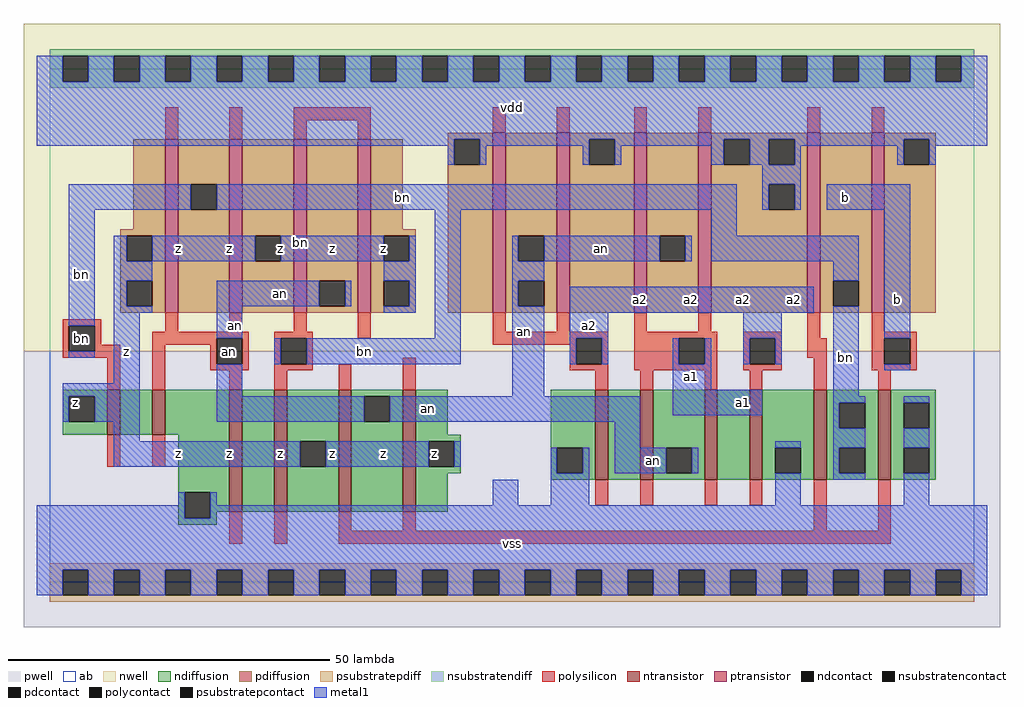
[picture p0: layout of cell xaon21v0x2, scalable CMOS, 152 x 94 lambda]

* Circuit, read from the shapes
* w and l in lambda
.subckt xaon21v0x2 a1 a2 an b bn vdd vss z
M1 n1 bn z vss nfet w=7 l=2
M2 vss an n1 vss nfet w=7 l=2
M3 n2 an vss vss nfet w=19 l=2
M4 z bn n2 vss nfet w=19 l=2
M5 an b z vss nfet w=19 l=2 m=2
M6 n3 a2 vss vss nfet w=14 l=2
M7 an a1 n3 vss nfet w=14 l=2
M8 n4 a1 an vss nfet w=14 l=2
M9 vss a2 n4 vss nfet w=14 l=2
M10 bn b vss vss nfet w=14 l=2 m=2
M11 bn an z vdd pfet w=27 l=2 m=2
M12 an bn z vdd pfet w=27 l=2 m=2
M13 an a2 vdd vdd pfet w=28 l=2 m=2
M14 an a1 vdd vdd pfet w=28 l=2 m=2
M15 bn b vdd vdd pfet w=28 l=2 m=2
.ends

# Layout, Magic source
magic
tech scmos
<< ab >>
rect 0 0 144 80
<< pwell >>
rect -4 -7 148 36
<< nwell >>
rect -4 36 148 87
<< polysilicon >>
rect 18 69 20 74
rect 28 69 30 74
rect 38 72 50 74
rect 38 69 40 72
rect 48 69 50 72
rect 69 70 71 74
rect 79 70 81 74
rect 91 70 93 74
rect 101 70 103 74
rect 118 70 120 74
rect 128 70 130 74
rect 2 40 8 41
rect 2 36 3 40
rect 7 37 8 40
rect 18 39 20 42
rect 28 39 30 42
rect 38 39 40 42
rect 16 38 31 39
rect 16 37 26 38
rect 7 36 11 37
rect 2 35 11 36
rect 9 30 11 35
rect 16 30 18 37
rect 25 34 26 37
rect 30 34 31 38
rect 25 33 31 34
rect 35 38 41 39
rect 48 38 50 42
rect 69 39 71 42
rect 79 39 81 42
rect 91 39 93 42
rect 101 39 103 42
rect 69 38 87 39
rect 35 34 36 38
rect 40 34 41 38
rect 69 37 82 38
rect 35 33 41 34
rect 28 30 30 33
rect 35 30 37 33
rect 45 30 47 34
rect 55 30 57 35
rect 81 34 82 37
rect 86 34 87 38
rect 81 33 87 34
rect 91 38 104 39
rect 91 34 98 38
rect 102 34 104 38
rect 91 33 104 34
rect 108 38 114 39
rect 108 34 109 38
rect 113 34 114 38
rect 118 38 120 42
rect 128 39 130 42
rect 128 38 135 39
rect 118 35 121 38
rect 108 33 114 34
rect 85 30 87 33
rect 92 30 94 33
rect 102 30 104 33
rect 109 30 111 33
rect 119 30 121 35
rect 128 34 130 38
rect 134 34 135 38
rect 128 33 135 34
rect 129 30 131 33
rect 9 18 11 23
rect 16 18 18 23
rect 85 12 87 16
rect 92 12 94 16
rect 102 12 104 16
rect 109 12 111 16
rect 28 6 30 11
rect 35 6 37 11
rect 45 8 47 11
rect 55 8 57 11
rect 119 8 121 16
rect 129 8 131 16
rect 45 6 131 8
<< ndiffusion >>
rect 2 29 9 30
rect 2 25 3 29
rect 7 25 9 29
rect 2 23 9 25
rect 11 23 16 30
rect 18 23 28 30
rect 20 14 28 23
rect 20 10 21 14
rect 25 11 28 14
rect 30 11 35 30
rect 37 22 45 30
rect 37 18 39 22
rect 43 18 45 22
rect 37 11 45 18
rect 47 29 55 30
rect 47 25 49 29
rect 53 25 55 29
rect 47 11 55 25
rect 57 23 62 30
rect 57 22 64 23
rect 57 18 59 22
rect 63 18 64 22
rect 57 17 64 18
rect 78 21 85 30
rect 78 17 79 21
rect 83 17 85 21
rect 57 11 62 17
rect 78 16 85 17
rect 87 16 92 30
rect 94 21 102 30
rect 94 17 96 21
rect 100 17 102 21
rect 94 16 102 17
rect 104 16 109 30
rect 111 21 119 30
rect 111 17 113 21
rect 117 17 119 21
rect 111 16 119 17
rect 121 28 129 30
rect 121 24 123 28
rect 127 24 129 28
rect 121 21 129 24
rect 121 17 123 21
rect 127 17 129 21
rect 121 16 129 17
rect 131 28 138 30
rect 131 24 133 28
rect 137 24 138 28
rect 131 21 138 24
rect 131 17 133 21
rect 137 17 138 21
rect 131 16 138 17
rect 25 10 26 11
rect 20 9 26 10
<< pdiffusion >>
rect 62 69 69 70
rect 13 55 18 69
rect 11 54 18 55
rect 11 50 12 54
rect 16 50 18 54
rect 11 47 18 50
rect 11 43 12 47
rect 16 43 18 47
rect 11 42 18 43
rect 20 62 28 69
rect 20 58 22 62
rect 26 58 28 62
rect 20 42 28 58
rect 30 54 38 69
rect 30 50 32 54
rect 36 50 38 54
rect 30 42 38 50
rect 40 47 48 69
rect 40 43 42 47
rect 46 43 48 47
rect 40 42 48 43
rect 50 55 55 69
rect 62 65 63 69
rect 67 65 69 69
rect 50 54 57 55
rect 50 50 52 54
rect 56 50 57 54
rect 50 47 57 50
rect 50 43 52 47
rect 56 43 57 47
rect 50 42 57 43
rect 62 42 69 65
rect 71 54 79 70
rect 71 50 73 54
rect 77 50 79 54
rect 71 47 79 50
rect 71 43 73 47
rect 77 43 79 47
rect 71 42 79 43
rect 81 69 91 70
rect 81 65 84 69
rect 88 65 91 69
rect 81 42 91 65
rect 93 54 101 70
rect 93 50 95 54
rect 99 50 101 54
rect 93 42 101 50
rect 103 69 118 70
rect 103 65 105 69
rect 109 65 112 69
rect 116 65 118 69
rect 103 62 118 65
rect 103 58 112 62
rect 116 58 118 62
rect 103 42 118 58
rect 120 47 128 70
rect 120 43 122 47
rect 126 43 128 47
rect 120 42 128 43
rect 130 69 138 70
rect 130 65 133 69
rect 137 65 138 69
rect 130 42 138 65
<< metal1 >>
rect -2 78 2 82
rect 6 78 10 82
rect 14 78 18 82
rect 22 78 26 82
rect 30 78 34 82
rect 38 78 42 82
rect 46 78 50 82
rect 54 78 58 82
rect 62 78 66 82
rect 70 78 74 82
rect 78 78 82 82
rect 86 78 90 82
rect 94 78 98 82
rect 102 78 106 82
rect 110 78 114 82
rect 118 78 122 82
rect 126 78 130 82
rect 134 78 138 82
rect 142 78 146 82
rect -2 69 146 78
rect -2 68 63 69
rect 62 65 63 68
rect 67 68 84 69
rect 67 65 68 68
rect 83 65 84 68
rect 88 68 105 69
rect 88 65 89 68
rect 103 65 105 68
rect 109 65 112 69
rect 116 68 133 69
rect 116 65 117 68
rect 132 65 133 68
rect 137 68 146 69
rect 137 65 138 68
rect 111 62 117 65
rect 3 58 22 62
rect 26 58 107 62
rect 111 58 112 62
rect 116 58 117 62
rect 121 58 134 62
rect 3 40 7 58
rect 3 35 7 36
rect 10 50 12 54
rect 16 50 32 54
rect 36 50 52 54
rect 56 50 57 54
rect 10 47 16 50
rect 52 47 57 50
rect 10 43 12 47
rect 10 42 16 43
rect 26 43 42 47
rect 46 43 47 47
rect 56 43 57 47
rect 10 31 14 42
rect 2 29 14 31
rect 2 25 3 29
rect 7 25 14 29
rect 26 38 30 43
rect 52 42 57 43
rect 60 38 64 58
rect 103 54 107 58
rect 35 34 36 38
rect 40 34 64 38
rect 72 50 73 54
rect 77 50 95 54
rect 99 50 100 54
rect 103 50 126 54
rect 72 47 77 50
rect 72 43 73 47
rect 122 47 126 50
rect 26 29 30 34
rect 72 29 77 43
rect 81 42 119 46
rect 81 38 87 42
rect 108 38 114 42
rect 81 34 82 38
rect 86 34 87 38
rect 97 34 98 38
rect 102 34 103 38
rect 108 34 109 38
rect 113 34 114 38
rect 97 30 103 34
rect 26 25 49 29
rect 53 25 92 29
rect 97 26 111 30
rect 122 29 126 43
rect 130 38 134 58
rect 130 33 134 34
rect 122 28 127 29
rect 10 22 14 25
rect 10 18 39 22
rect 43 18 59 22
rect 63 18 64 22
rect 88 21 92 25
rect 122 24 123 28
rect 113 21 117 22
rect 78 17 79 21
rect 83 17 84 21
rect 88 17 96 21
rect 100 17 101 21
rect 20 12 21 14
rect -2 10 21 12
rect 25 12 26 14
rect 69 12 73 16
rect 78 12 84 17
rect 113 12 117 17
rect 122 21 127 24
rect 122 17 123 21
rect 122 16 127 17
rect 133 28 137 29
rect 133 21 137 24
rect 133 12 137 17
rect 25 10 146 12
rect -2 2 146 10
rect -2 -2 2 2
rect 6 -2 10 2
rect 14 -2 18 2
rect 22 -2 26 2
rect 30 -2 34 2
rect 38 -2 42 2
rect 46 -2 50 2
rect 54 -2 58 2
rect 62 -2 66 2
rect 70 -2 74 2
rect 78 -2 82 2
rect 86 -2 90 2
rect 94 -2 98 2
rect 102 -2 106 2
rect 110 -2 114 2
rect 118 -2 122 2
rect 126 -2 130 2
rect 134 -2 138 2
rect 142 -2 146 2
<< ntransistor >>
rect 9 23 11 30
rect 16 23 18 30
rect 28 11 30 30
rect 35 11 37 30
rect 45 11 47 30
rect 55 11 57 30
rect 85 16 87 30
rect 92 16 94 30
rect 102 16 104 30
rect 109 16 111 30
rect 119 16 121 30
rect 129 16 131 30
<< ptransistor >>
rect 18 42 20 69
rect 28 42 30 69
rect 38 42 40 69
rect 48 42 50 69
rect 69 42 71 70
rect 79 42 81 70
rect 91 42 93 70
rect 101 42 103 70
rect 118 42 120 70
rect 128 42 130 70
<< polycontact >>
rect 3 36 7 40
rect 26 34 30 38
rect 36 34 40 38
rect 82 34 86 38
rect 98 34 102 38
rect 109 34 113 38
rect 130 34 134 38
<< ndcontact >>
rect 3 25 7 29
rect 21 10 25 14
rect 39 18 43 22
rect 49 25 53 29
rect 59 18 63 22
rect 79 17 83 21
rect 96 17 100 21
rect 113 17 117 21
rect 123 24 127 28
rect 123 17 127 21
rect 133 24 137 28
rect 133 17 137 21
<< pdcontact >>
rect 12 50 16 54
rect 12 43 16 47
rect 22 58 26 62
rect 32 50 36 54
rect 42 43 46 47
rect 63 65 67 69
rect 52 50 56 54
rect 52 43 56 47
rect 73 50 77 54
rect 73 43 77 47
rect 84 65 88 69
rect 95 50 99 54
rect 105 65 109 69
rect 112 65 116 69
rect 112 58 116 62
rect 122 43 126 47
rect 133 65 137 69
<< psubstratepcontact >>
rect 2 -2 6 2
rect 10 -2 14 2
rect 18 -2 22 2
rect 26 -2 30 2
rect 34 -2 38 2
rect 42 -2 46 2
rect 50 -2 54 2
rect 58 -2 62 2
rect 66 -2 70 2
rect 74 -2 78 2
rect 82 -2 86 2
rect 90 -2 94 2
rect 98 -2 102 2
rect 106 -2 110 2
rect 114 -2 118 2
rect 122 -2 126 2
rect 130 -2 134 2
rect 138 -2 142 2
<< nsubstratencontact >>
rect 2 78 6 82
rect 10 78 14 82
rect 18 78 22 82
rect 26 78 30 82
rect 34 78 38 82
rect 42 78 46 82
rect 50 78 54 82
rect 58 78 62 82
rect 66 78 70 82
rect 74 78 78 82
rect 82 78 86 82
rect 90 78 94 82
rect 98 78 102 82
rect 106 78 110 82
rect 114 78 118 82
rect 122 78 126 82
rect 130 78 134 82
rect 138 78 142 82
<< psubstratepdiff >>
rect 0 2 144 3
rect 0 -2 2 2
rect 6 -2 10 2
rect 14 -2 18 2
rect 22 -2 26 2
rect 30 -2 34 2
rect 38 -2 42 2
rect 46 -2 50 2
rect 54 -2 58 2
rect 62 -2 66 2
rect 70 -2 74 2
rect 78 -2 82 2
rect 86 -2 90 2
rect 94 -2 98 2
rect 102 -2 106 2
rect 110 -2 114 2
rect 118 -2 122 2
rect 126 -2 130 2
rect 134 -2 138 2
rect 142 -2 144 2
rect 0 -3 144 -2
<< nsubstratendiff >>
rect 0 82 144 83
rect 0 78 2 82
rect 6 78 10 82
rect 14 78 18 82
rect 22 78 26 82
rect 30 78 34 82
rect 38 78 42 82
rect 46 78 50 82
rect 54 78 58 82
rect 62 78 66 82
rect 70 78 74 82
rect 78 78 82 82
rect 86 78 90 82
rect 94 78 98 82
rect 102 78 106 82
rect 110 78 114 82
rect 118 78 122 82
rect 126 78 130 82
rect 134 78 138 82
rect 142 78 144 82
rect 0 77 144 78
<< labels >>
rlabel polycontact 5 38 5 38 6 bn
rlabel polysilicon 29 40 29 40 6 an
rlabel ptransistor 39 53 39 53 6 bn
rlabel metal1 20 20 20 20 6 z
rlabel ndcontact 4 28 4 28 6 z
rlabel metal1 12 36 12 36 6 z
rlabel metal1 20 52 20 52 6 z
rlabel metal1 5 48 5 48 6 bn
rlabel metal1 28 20 28 20 6 z
rlabel metal1 36 20 36 20 6 z
rlabel metal1 44 20 44 20 6 z
rlabel metal1 52 20 52 20 6 z
rlabel polycontact 28 36 28 36 6 an
rlabel metal1 36 45 36 45 6 an
rlabel metal1 36 52 36 52 6 z
rlabel metal1 44 52 44 52 6 z
rlabel metal1 52 52 52 52 6 z
rlabel metal1 28 52 28 52 6 z
rlabel metal1 72 6 72 6 6 vss
rlabel ndcontact 60 20 60 20 6 z
rlabel metal1 49 36 49 36 6 bn
rlabel metal1 84 40 84 40 6 a2
rlabel metal1 74 39 74 39 6 an
rlabel metal1 72 74 72 74 6 vdd
rlabel metal1 94 19 94 19 6 an
rlabel metal1 59 27 59 27 6 an
rlabel metal1 108 28 108 28 6 a1
rlabel metal1 100 32 100 32 6 a1
rlabel metal1 100 44 100 44 6 a2
rlabel metal1 108 44 108 44 6 a2
rlabel metal1 92 44 92 44 6 a2
rlabel metal1 86 52 86 52 6 an
rlabel metal1 55 60 55 60 6 bn
rlabel metal1 116 44 116 44 6 a2
rlabel metal1 132 44 132 44 6 b
rlabel metal1 124 35 124 35 6 bn
rlabel metal1 124 60 124 60 6 b
<< end >>
